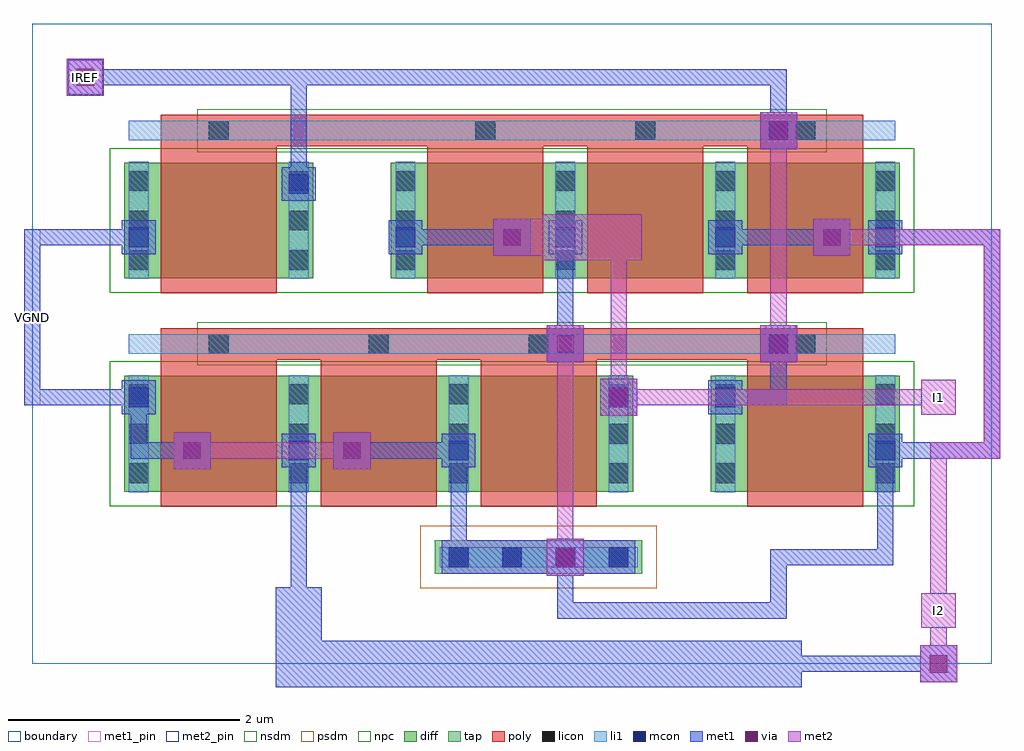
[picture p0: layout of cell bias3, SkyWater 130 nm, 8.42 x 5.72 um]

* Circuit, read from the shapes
.subckt bias3 I1 I2 IREF VGND
XM1 I2 IREF VGND VGND sky130_fd_pr__nfet_01v8 w=1 l=1 m=4
XM2 IREF IREF VGND VGND sky130_fd_pr__nfet_01v8 w=1 l=1 m=2
XM3 VGND IREF I1 VGND sky130_fd_pr__nfet_01v8 w=1 l=1 m=2
.ends

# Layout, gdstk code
import gdstk
lib = gdstk.Library(unit=1e-6, precision=1e-09)
def R(c, l, rs):  # rectangles x0, y0, x1, y1
    for r in rs: c.add(gdstk.rectangle(r[:2], r[2:], *l))
def A(c, l, x, y, w, h, nx, ny, dx, dy):  # array of equal rectangles
    R(c, l, [(x+i*dx, y+j*dy, x+i*dx+w, y+j*dy+h) for i in range(nx) for j in range(ny)])
diff = (65, 20)
tap = (65, 44)
poly = (66, 20)
licon = (66, 44)
li1 = (67, 20)
mcon = (67, 44)
met1_pin = (68, 16)
met1 = (68, 20)
via = (68, 44)
met2_pin = (69, 16)
met2 = (69, 20)
nsdm = (93, 44)
psdm = (94, 20)
npc = (95, 20)
boundary = (235, 4)

bias3 = lib.new_cell('bias3')
R(bias3, diff, [(0.795,1.485,5.185,2.485), (5.855,1.485,7.485,2.485), (0.795,3.325,2.425,4.325), (3.095,3.325,7.485,4.325)])
R(bias3, tap, [(3.475,0.775,5.265,1.065)])
A(bias3, poly, 1.11, 1.355, 1, 1.405, 3, 1, 1.38, 0)
A(bias3, poly, 3.41, 3.195, 1, 1.405, 3, 1, 1.38, 0)
R(bias3, poly, [(6.17,1.355,7.17,2.76), (1.11,2.625,7.17,2.895), (1.11,3.195,2.11,4.6), (1.11,4.465,7.17,4.735)])
A(bias3, licon, 3.595, 0.835, 0.17, 0.17, 4, 1, 0.46, 0)
A(bias3, licon, 0.835, 1.56, 0.17, 0.17, 4, 3, 1.38, 0.34)
A(bias3, licon, 5.895, 1.56, 0.17, 0.17, 1, 3, 0, 0.34)
A(bias3, licon, 7.275, 1.56, 0.17, 0.17, 1, 3, 0, 0.34)
A(bias3, licon, 1.525, 2.675, 0.17, 0.17, 3, 1, 1.38, 0)
A(bias3, licon, 0.835, 3.4, 0.17, 0.17, 1, 3, 0, 0.34)
A(bias3, licon, 2.215, 3.4, 0.17, 0.17, 1, 3, 0, 0.34)
A(bias3, licon, 3.135, 3.4, 0.17, 0.17, 4, 3, 1.38, 0.34)
A(bias3, licon, 3.825, 4.515, 0.17, 0.17, 3, 1, 1.38, 0)
R(bias3, licon, [(6.585,2.675,6.755,2.845), (1.525,4.515,1.695,4.685)])
A(bias3, li1, 0.835, 1.48, 0.17, 1.01, 4, 1, 1.38, 0)
A(bias3, li1, 3.135, 3.32, 0.17, 1.01, 4, 1, 1.38, 0)
R(bias3, li1, [(3.515,0.835,5.225,1.005), (5.895,1.48,6.065,2.49), (7.275,1.48,7.445,2.49), (0.835,2.675,7.445,2.845), (0.835,3.32,1.005,4.33), (2.215,3.32,2.385,4.33), (0.835,4.515,7.445,4.685)])
A(bias3, mcon, 3.595, 0.835, 0.17, 0.17, 4, 1, 0.46, 0)
A(bias3, mcon, 3.135, 3.595, 0.17, 0.17, 4, 1, 1.38, 0)
R(bias3, mcon, [(2.215,1.755,2.385,1.925), (3.595,1.755,3.765,1.925), (7.275,1.755,7.445,1.925), (0.835,2.215,1.005,2.385), (4.975,2.215,5.145,2.385), (5.895,2.215,6.065,2.385), (6.355,2.675,6.525,2.845), (0.835,3.595,1.005,3.765), (2.215,4.055,2.385,4.225), (6.355,4.515,6.525,4.685)])
R(bias3, met1_pin, [(-0.07,2.23,0.07,3.75)])
A(bias3, met1, 3.075, 3.535, 0.29, 0.29, 4, 1, 1.38, 0)
R(bias3, met1, [(2.1,-0.2,2.5,0.66), (2.1,-0.2,6.64,0.2), (7.66,-0.16,7.98,0.16), (6.37,-0.07,7.89,0.07), (2.23,0.39,2.37,1.91), (4.53,0.39,4.67,0.99), (4.53,0.39,6.51,0.53), (6.37,0.39,6.51,0.99), (4.44,0.76,4.76,1.08), (3.535,0.775,5.205,1.065), (3.61,0.85,3.75,1.91), (3.61,0.85,4.67,0.99), (3.61,0.85,3.75,0.99), (6.37,0.85,7.43,0.99), (7.29,0.85,7.43,1.91), (1.22,1.68,1.54,2), (2.6,1.68,2.92,2), (2.155,1.695,2.445,1.985), (3.535,1.695,3.825,1.985), (7.215,1.695,7.505,1.985), (0.85,1.77,1.45,1.91), (0.85,1.77,0.99,2.37), (2.69,1.77,3.75,1.91), (7.29,1.77,8.35,1.91), (8.21,1.77,8.35,3.75), (4.9,2.14,5.22,2.46), (0.775,2.155,1.065,2.445), (4.915,2.155,5.205,2.445), (5.835,2.155,6.125,2.445), (-0.07,2.23,0.99,2.37), (-0.07,2.23,0.07,3.75), (5.91,2.23,6.51,2.37), (6.37,2.23,6.51,2.83), (4.44,2.6,4.76,2.92), (6.28,2.6,6.6,2.92), (6.295,2.615,6.585,2.905), (4.53,2.69,4.67,3.75), (3.98,3.52,4.3,3.84), (6.74,3.52,7.06,3.84), (0.775,3.535,1.065,3.825), (-0.07,3.61,0.99,3.75), (3.15,3.61,4.21,3.75), (5.91,3.61,6.97,3.75), (7.29,3.61,8.35,3.75), (2.155,3.995,2.445,4.285), (2.23,4.07,2.37,5.13), (6.28,4.44,6.6,4.76), (6.295,4.455,6.585,4.745), (6.37,4.53,6.51,5.13), (0.3,4.9,0.62,5.22), (0.39,4.99,2.37,5.13), (2.23,4.99,6.51,5.13)])
R(bias3, via, [(7.745,-0.075,7.895,0.075), (4.525,0.845,4.675,0.995), (1.305,1.765,1.455,1.915), (2.685,1.765,2.835,1.915), (4.985,2.225,5.135,2.375), (4.525,2.685,4.675,2.835), (6.365,2.685,6.515,2.835), (4.065,3.605,4.215,3.755), (6.825,3.605,6.975,3.755), (6.365,4.525,6.515,4.675), (0.385,4.985,0.535,5.135)])
R(bias3, met2_pin, [(7.67,0.31,7.97,0.61), (7.67,2.15,7.97,2.45), (0.31,4.91,0.61,5.21)])
R(bias3, met2, [(7.66,-0.16,7.98,0.16), (7.75,-0.07,7.89,0.53), (7.67,0.31,7.97,0.61), (7.75,0.39,7.89,0.53), (7.75,0.39,7.89,1.91), (4.44,0.76,4.76,1.08), (4.53,0.85,4.67,2.83), (1.22,1.68,1.54,2), (2.6,1.68,2.92,2), (1.31,1.77,2.83,1.91), (7.75,1.77,8.35,1.91), (8.21,1.77,8.35,3.75), (4.9,2.14,5.22,2.46), (7.67,2.15,7.97,2.45), (4.99,2.23,7.89,2.37), (4.99,2.23,5.13,3.75), (7.75,2.23,7.89,2.37), (4.44,2.6,4.76,2.92), (6.28,2.6,6.6,2.92), (6.37,2.69,6.51,4.67), (4.4,3.48,5.26,3.88), (3.98,3.52,4.3,3.84), (4.3,3.52,4.4,3.84), (6.74,3.52,7.06,3.84), (4.07,3.61,4.67,3.75), (6.83,3.61,8.35,3.75), (6.28,4.44,6.6,4.76), (0.3,4.9,0.62,5.22), (0.31,4.91,0.61,5.21), (0.39,4.99,0.53,5.13)])
R(bias3, nsdm, [(0.67,1.36,7.61,2.61), (0.67,3.2,7.61,4.45)])
R(bias3, psdm, [(3.35,0.65,5.39,1.19)])
R(bias3, npc, [(1.425,2.575,6.855,2.945), (1.425,4.415,6.855,4.785)])
R(bias3, boundary, [(0,0,8.28,5.52)])
bias3.add(gdstk.Label('VGND', (0,2.99), layer=68, texttype=5))
bias3.add(gdstk.Label('IREF', (0.46,5.06), layer=69, texttype=5))
bias3.add(gdstk.Label('I1', (7.82,2.3), layer=69, texttype=5))
bias3.add(gdstk.Label('I2', (7.82,0.46), layer=69, texttype=5))
bias3.add(gdstk.Label('VGND', (0,2.99), layer=68, texttype=16))
bias3.add(gdstk.Label('IREF', (0.46,5.06), layer=69, texttype=16))
bias3.add(gdstk.Label('I1', (7.82,2.3), layer=69, texttype=16))
bias3.add(gdstk.Label('I2', (7.82,0.46), layer=69, texttype=16))

lib.write_gds('bias3.gds')
